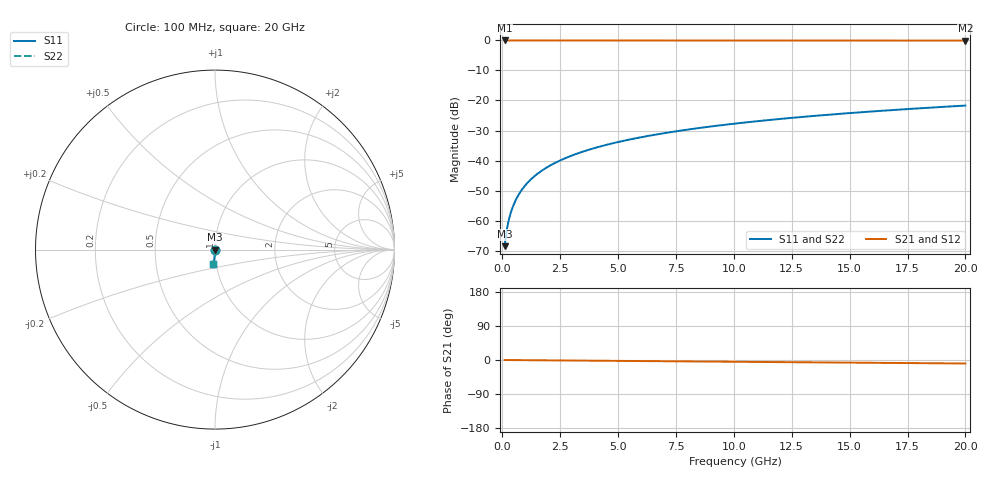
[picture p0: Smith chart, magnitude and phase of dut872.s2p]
! Touchstone file exported from HFSS 2026.1.0
!  File:  C:/ffzhzh/LocalFiles/Ansys_Project_Files/temp_train_TSV_872_1783185548_51560.aedt
!  Generated:  01:20:39 AM Jul  5, 2026
!  Design:  TSV
!  Project:  temp_train_TSV_872_1783185548_51560
! Variables:
!  h_bsmrdl = 2um
!  h_ox = 20um
!  h_rdl = 5um
!  h_sub = 85.06um
!  h_tmrdl = 5um
!  h_tsv = 85.06um
!  h_via = 3um
!  l_bsmrdl = 300um
!  l_sub = 423.86um
!  l_tmrdl = 200um
!  m_sub = 200um
!  pitch = 31.15um
!  r_tsv = 11.93um
!  s_tmrdl = 10um
!  w_bsmrdl = 18um
!  w_sub = 500um
!  w_tmrdl = 12um
!  x_tsv_center1 = 206um
!  x_tsv_center2 = 524um
!  x_tsv_center3 = 736um
!  x_tsv_center4 = 1054um
!  x_tsv_center5 = 1266um
!  x_tsv_center6 = 1584um
# GHz S MA R 50.000000
! Terminal data exported
! Port[1] = TSV1_1_T1
! Port[2] = TSV1_1_T2
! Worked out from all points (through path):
!   200 points, 100 MHz to 20 GHz, reference 50 ohm
!   highest |S21| = 0.00 dB at 100 MHz (marker M1); lowest = 0.0 dB at 20 GHz (marker M2)
!   group delay of S21, straight-line fit = 1.28 ps
!   lowest |S11| = -68.5 dB at 100 MHz (marker M3), VSWR 1.00, Z = 50 - j0.0356 ohm
!   |S11| at or under -10 dB: start of sweep to end of sweep
!   |S22| runs from -68.5 to -21.7 dB; largest |S21 - S12| = 3.1e-15
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0.1  0.0003745 -72.1  0.9999 -0.0  0.9999 -0.0  0.0003745 -72.1
! Gamma 0 0 0 0
! Port Impedance 50 0 50 0
0.2  0.0007304 -79.5  0.9999 -0.1  0.9999 -0.1  0.0007304 -79.5
0.3  0.0011 -81.6  0.9998 -0.1  0.9998 -0.1  0.0011 -81.6
0.4  0.001482 -82.6  0.9998 -0.2  0.9998 -0.2  0.001482 -82.6
0.5  0.001872 -83.3  0.9998 -0.2  0.9998 -0.2  0.001872 -83.3
0.7  0.002672 -84.2  0.9997 -0.3  0.9997 -0.3  0.002672 -84.2
0.8  0.003077 -84.6  0.9997 -0.4  0.9997 -0.4  0.003077 -84.6
1  0.003894 -85.3  0.9996 -0.5  0.9996 -0.5  0.003894 -85.3
1.2  0.004714 -85.9  0.9996 -0.6  0.9996 -0.6  0.004714 -85.9
1.4  0.005534 -86.4  0.9996 -0.7  0.9996 -0.7  0.005534 -86.4
1.7  0.006765 -87.0  0.9995 -0.8  0.9995 -0.8  0.006765 -87.0
2  0.007994 -87.5  0.9995 -0.9  0.9995 -0.9  0.007994 -87.5
2.7  0.01086 -88.4  0.9994 -1.3  0.9994 -1.3  0.01086 -88.4
3.5  0.01415 -89.2  0.9993 -1.6  0.9993 -1.6  0.01415 -89.2
4.2  0.01703 -89.7  0.9992 -2.0  0.9992 -2.0  0.01703 -89.7
5  0.02033 -90.3  0.9991 -2.3  0.9991 -2.3  0.02033 -90.3
6.8  0.02777 -91.4  0.9988 -3.2  0.9988 -3.2  0.02777 -91.4
8.3  0.03398 -92.2  0.9985 -3.9  0.9985 -3.9  0.03398 -92.2
10.1  0.04144 -93.2  0.9981 -4.7  0.9981 -4.7  0.04144 -93.2
13.4  0.05509 -94.9  0.9973 -6.2  0.9973 -6.2  0.05509 -94.9
16.7  0.0687 -96.6  0.9963 -7.7  0.9963 -7.7  0.0687 -96.6
20  0.08226 -98.2  0.9951 -9.2  0.9951 -9.2  0.08226 -98.2
